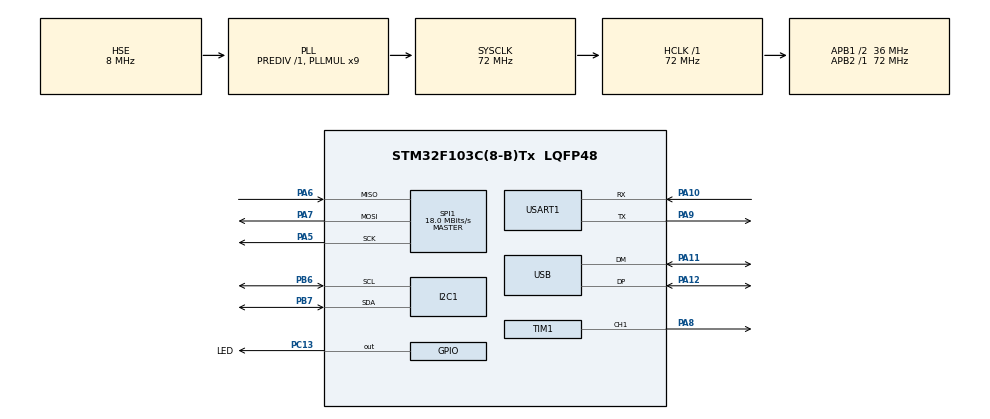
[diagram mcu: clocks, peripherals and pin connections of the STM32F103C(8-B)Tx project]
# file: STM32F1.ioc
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Dma.I2C1_RX.0.Direction=DMA_PERIPH_TO_MEMORY
Dma.I2C1_RX.0.Instance=DMA1_Channel7
Dma.I2C1_RX.0.MemDataAlignment=DMA_MDATAALIGN_BYTE
Dma.I2C1_RX.0.MemInc=DMA_MINC_ENABLE
Dma.I2C1_RX.0.Mode=DMA_NORMAL
Dma.I2C1_RX.0.PeriphDataAlignment=DMA_PDATAALIGN_BYTE
Dma.I2C1_RX.0.PeriphInc=DMA_PINC_DISABLE
Dma.I2C1_RX.0.Priority=DMA_PRIORITY_LOW
Dma.I2C1_TX.1.Direction=DMA_MEMORY_TO_PERIPH
Dma.I2C1_TX.1.Instance=DMA1_Channel6
Dma.I2C1_TX.1.MemDataAlignment=DMA_MDATAALIGN_BYTE
Dma.I2C1_TX.1.MemInc=DMA_MINC_ENABLE
Dma.I2C1_TX.1.Mode=DMA_NORMAL
Dma.I2C1_TX.1.PeriphDataAlignment=DMA_PDATAALIGN_BYTE
Dma.I2C1_TX.1.PeriphInc=DMA_PINC_DISABLE
Dma.I2C1_TX.1.Priority=DMA_PRIORITY_LOW
Dma.MEMTOMEM.5.Direction=DMA_MEMORY_TO_MEMORY
Dma.MEMTOMEM.5.Instance=DMA1_Channel1
Dma.MEMTOMEM.5.MemDataAlignment=DMA_MDATAALIGN_BYTE
Dma.MEMTOMEM.5.MemInc=DMA_MINC_ENABLE
Dma.MEMTOMEM.5.Mode=DMA_NORMAL
Dma.MEMTOMEM.5.PeriphDataAlignment=DMA_PDATAALIGN_BYTE
Dma.MEMTOMEM.5.PeriphInc=DMA_PINC_ENABLE
Dma.MEMTOMEM.5.Priority=DMA_PRIORITY_LOW
Dma.Request0=I2C1_RX
Dma.Request1=I2C1_TX
Dma.Request2=TIM1_CH1
Dma.Request3=USART1_RX
Dma.Request4=USART1_TX
Dma.Request5=MEMTOMEM
Dma.TIM1_CH1.2.Direction=DMA_PERIPH_TO_MEMORY
Dma.TIM1_CH1.2.Instance=DMA1_Channel2
Dma.TIM1_CH1.2.MemDataAlignment=DMA_MDATAALIGN_HALFWORD
Dma.TIM1_CH1.2.MemInc=DMA_MINC_ENABLE
Dma.TIM1_CH1.2.Mode=DMA_NORMAL
Dma.TIM1_CH1.2.PeriphDataAlignment=DMA_PDATAALIGN_HALFWORD
Dma.TIM1_CH1.2.PeriphInc=DMA_PINC_DISABLE
Dma.TIM1_CH1.2.Priority=DMA_PRIORITY_LOW
Dma.USART1_RX.3.Direction=DMA_PERIPH_TO_MEMORY
Dma.USART1_RX.3.Instance=DMA1_Channel5
Dma.USART1_RX.3.MemDataAlignment=DMA_MDATAALIGN_BYTE
Dma.USART1_RX.3.MemInc=DMA_MINC_ENABLE
Dma.USART1_RX.3.Mode=DMA_NORMAL
Dma.USART1_RX.3.PeriphDataAlignment=DMA_PDATAALIGN_BYTE
Dma.USART1_RX.3.PeriphInc=DMA_PINC_DISABLE
Dma.USART1_RX.3.Priority=DMA_PRIORITY_LOW
Dma.USART1_TX.4.Direction=DMA_MEMORY_TO_PERIPH
Dma.USART1_TX.4.Instance=DMA1_Channel4
Dma.USART1_TX.4.MemDataAlignment=DMA_MDATAALIGN_BYTE
Dma.USART1_TX.4.MemInc=DMA_MINC_ENABLE
Dma.USART1_TX.4.Mode=DMA_NORMAL
Dma.USART1_TX.4.PeriphDataAlignment=DMA_PDATAALIGN_BYTE
Dma.USART1_TX.4.PeriphInc=DMA_PINC_DISABLE
Dma.USART1_TX.4.Priority=DMA_PRIORITY_LOW
I2C1.I2C_Mode=I2C_Fast
Mcu.Family=STM32F1
Mcu.Name=STM32F103C(8-B)Tx
Mcu.Package=LQFP48
NVIC.DMA1_Channel1_IRQn=true\:0\:0\:false\:false\:true\:true\:true
NVIC.DMA1_Channel2_IRQn=true\:0\:0\:false\:false\:true\:false\:true
NVIC.DMA1_Channel4_IRQn=true\:0\:0\:false\:false\:true\:false\:true
NVIC.DMA1_Channel5_IRQn=true\:0\:0\:false\:false\:true\:false\:true
NVIC.DMA1_Channel6_IRQn=true\:0\:0\:false\:false\:true\:false\:true
NVIC.DMA1_Channel7_IRQn=true\:0\:0\:false\:false\:true\:false\:true
NVIC.FLASH_IRQn=true\:0\:0\:false\:false\:true\:true\:true
NVIC.I2C1_ER_IRQn=true\:0\:0\:false\:false\:true\:true\:true
NVIC.I2C1_EV_IRQn=true\:0\:0\:false\:false\:true\:true\:true
NVIC.PriorityGroup=NVIC_PRIORITYGROUP_4
NVIC.SPI1_IRQn=true\:0\:0\:false\:false\:true\:true\:true
NVIC.TIM1_BRK_IRQn=true\:0\:0\:false\:false\:true\:true\:true
NVIC.TIM1_CC_IRQn=true\:0\:0\:false\:false\:true\:true\:true
NVIC.TIM1_TRG_COM_IRQn=true\:0\:0\:false\:false\:true\:true\:true
NVIC.TIM1_UP_IRQn=true\:0\:0\:false\:false\:true\:true\:true
NVIC.USART1_IRQn=true\:0\:0\:false\:false\:true\:true\:true
NVIC.USB_LP_CAN1_RX0_IRQn=true\:7\:0\:true\:false\:true\:false\:true
PA10.Mode=Asynchronous
PA10.Signal=USART1_RX
PA11.Mode=Device
PA11.Signal=USB_DM
PA12.Mode=Device
PA12.Signal=USB_DP
PA13.Mode=Serial_Wire
PA13.Signal=SYS_JTMS-SWDIO
PA14.Mode=Serial_Wire
PA14.Signal=SYS_JTCK-SWCLK
PA5.Mode=Full_Duplex_Master
PA5.Signal=SPI1_SCK
PA6.Mode=Full_Duplex_Master
PA6.Signal=SPI1_MISO
PA7.Mode=Full_Duplex_Master
PA7.Signal=SPI1_MOSI
PA8.Signal=S_TIM1_CH1
PA9.Mode=Asynchronous
PA9.Signal=USART1_TX
PB6.Mode=I2C
PB6.Signal=I2C1_SCL
PB7.Mode=I2C
PB7.Signal=I2C1_SDA
PC13-TAMPER-RTC.GPIO_Label=LED
PC13-TAMPER-RTC.GPIO_ModeDefaultOutputPP=GPIO_MODE_OUTPUT_PP
PC13-TAMPER-RTC.GPIO_PuPd=GPIO_NOPULL
PC13-TAMPER-RTC.PinState=GPIO_PIN_SET
PC13-TAMPER-RTC.Signal=GPIO_Output
PD0-OSC_IN.Mode=HSE-External-Oscillator
PD0-OSC_IN.Signal=RCC_OSC_IN
PD1-OSC_OUT.Mode=HSE-External-Oscillator
PD1-OSC_OUT.Signal=RCC_OSC_OUT
ProjectManager.HeapSize=0x1000
ProjectManager.StackSize=0x400
ProjectManager.TargetToolchain=Makefile
RCC.AHBFreq_Value=72000000
RCC.APB1CLKDivider=RCC_HCLK_DIV2
RCC.APB1Freq_Value=36000000
RCC.APB1TimFreq_Value=72000000
RCC.APB2Freq_Value=72000000
RCC.APB2TimFreq_Value=72000000
RCC.HCLKFreq_Value=72000000
RCC.PLLMUL=RCC_PLL_MUL9
RCC.PLLSourceVirtual=RCC_PLLSOURCE_HSE
RCC.SYSCLKFreq_VALUE=72000000
RCC.SYSCLKSource=RCC_SYSCLKSOURCE_PLLCLK
RCC.USBFreq_Value=48000000
RCC.USBPrescaler=RCC_USBCLKSOURCE_PLL_DIV1_5
SH.S_TIM1_CH1.0=TIM1_CH1,PWM Generation1 CH1
SPI1.BaudRatePrescaler=SPI_BAUDRATEPRESCALER_4
SPI1.CalculateBaudRate=18.0 MBits/s
SPI1.Direction=SPI_DIRECTION_2LINES
SPI1.Mode=SPI_MODE_MASTER
SPI1.VirtualType=VM_MASTER
TIM1.Channel-PWM\ Generation1\ CH1=TIM_CHANNEL_1
USART1.VirtualMode=VM_ASYNC
USB_DEVICE.CLASS_NAME_FS=HID
USB_DEVICE.VirtualMode=Hid
USB_DEVICE.VirtualModeFS=Hid_FS
VP_TIM1_VS_ClockSourceINT.Mode=Internal
VP_USB_DEVICE_VS_USB_DEVICE_HID_FS.Mode=HID_FS
board=custom

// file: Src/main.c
/* USER CODE BEGIN Header */
/**
  ******************************************************************************
  * @file           : main.c
  * @brief          : Main program body
  ******************************************************************************
  * @attention
  *
  * <h2><center>&copy; Copyright (c) 2019 STMicroelectronics.
  * All rights reserved.</center></h2>
  *
  * This software component is licensed by ST under BSD 3-Clause license,
  * the "License"; You may not use this file except in compliance with the
  * License. You may obtain a copy of the License at:
  *                        opensource.org/licenses/BSD-3-Clause
  *
  ******************************************************************************
  */
/* USER CODE END Header */

#include "main.h"
#include "dma.h"
#include "i2c.h"
#include "spi.h"
#include "tim.h"
#include "usart.h"
#include "usb_device.h"
#include "gpio.h"

/* USER CODE BEGIN Includes */
#include "ssd1306.h"
#include <stdio.h>
#include <stdlib.h>
/* USER CODE END Includes */

void SystemClock_Config(void);

int main(void)
{

  /* MCU Configuration--------------------------------------------------------*/

  /* Reset of all peripherals, Initializes the Flash interface and the Systick. */
  HAL_Init();

  /* Configure the system clock */
  SystemClock_Config();

  /* Initialize all configured peripherals */
  MX_GPIO_Init();
  MX_DMA_Init();
  MX_I2C1_Init();
  MX_SPI1_Init();
  MX_USART1_UART_Init();
  MX_TIM1_Init();
  MX_USB_DEVICE_Init();
  /* USER CODE BEGIN 2 */
  SSD1306_Init();
  SSD1306_Fill(White);
  SSD1306_SetCursor(0,0);
  SSD1306_WriteString("Hello Lrh",Font_7x10,Black);
  SSD1306_UpdateScreen();

  uint8_t i = 0;
  uint8_t direction = 1;
  HAL_FLASH_Unlock();
  /* USER CODE END 2 */

  /* Infinite loop */
  while (1)
  {

    /* USER CODE BEGIN 3 */
    SSD1306_Fill(White);
    SSD1306_SetCursor(0,i);
    i = i + direction;
    SSD1306_WriteString("Hello Lrh",Font_7x10,Black);
    SSD1306_UpdateScreen();
    HAL_Delay(1);
    if (i >=50 || i < 1)
    {
      direction = - direction ;
      HAL_GPIO_TogglePin(LED_GPIO_Port,LED_Pin);
    }
  }
  /* USER CODE END 3 */
}

void SystemClock_Config(void)
{
  RCC_OscInitTypeDef RCC_OscInitStruct = {0};
  RCC_ClkInitTypeDef RCC_ClkInitStruct = {0};
  RCC_PeriphCLKInitTypeDef PeriphClkInit = {0};

  /** Initializes the CPU, AHB and APB busses clocks
  */
  RCC_OscInitStruct.OscillatorType = RCC_OSCILLATORTYPE_HSE;
  RCC_OscInitStruct.HSEState = RCC_HSE_ON;
  RCC_OscInitStruct.HSEPredivValue = RCC_HSE_PREDIV_DIV1;
  RCC_OscInitStruct.HSIState = RCC_HSI_ON;
  RCC_OscInitStruct.PLL.PLLState = RCC_PLL_ON;
  RCC_OscInitStruct.PLL.PLLSource = RCC_PLLSOURCE_HSE;
  RCC_OscInitStruct.PLL.PLLMUL = RCC_PLL_MUL9;
  if (HAL_RCC_OscConfig(&RCC_OscInitStruct) != HAL_OK)
  {
    Error_Handler();
  }
  /** Initializes the CPU, AHB and APB busses clocks
  */
  RCC_ClkInitStruct.ClockType = RCC_CLOCKTYPE_HCLK|RCC_CLOCKTYPE_SYSCLK
                              |RCC_CLOCKTYPE_PCLK1|RCC_CLOCKTYPE_PCLK2;
  RCC_ClkInitStruct.SYSCLKSource = RCC_SYSCLKSOURCE_PLLCLK;
  RCC_ClkInitStruct.AHBCLKDivider = RCC_SYSCLK_DIV1;
  RCC_ClkInitStruct.APB1CLKDivider = RCC_HCLK_DIV2;
  RCC_ClkInitStruct.APB2CLKDivider = RCC_HCLK_DIV1;

  if (HAL_RCC_ClockConfig(&RCC_ClkInitStruct, FLASH_LATENCY_2) != HAL_OK)
  {
    Error_Handler();
  }
  PeriphClkInit.PeriphClockSelection = RCC_PERIPHCLK_USB;
  PeriphClkInit.UsbClockSelection = RCC_USBCLKSOURCE_PLL_DIV1_5;
  if (HAL_RCCEx_PeriphCLKConfig(&PeriphClkInit) != HAL_OK)
  {
    Error_Handler();
  }
}

void Error_Handler(void)
{
}

/************************ (C) COPYRIGHT STMicroelectronics *****END OF FILE****/
